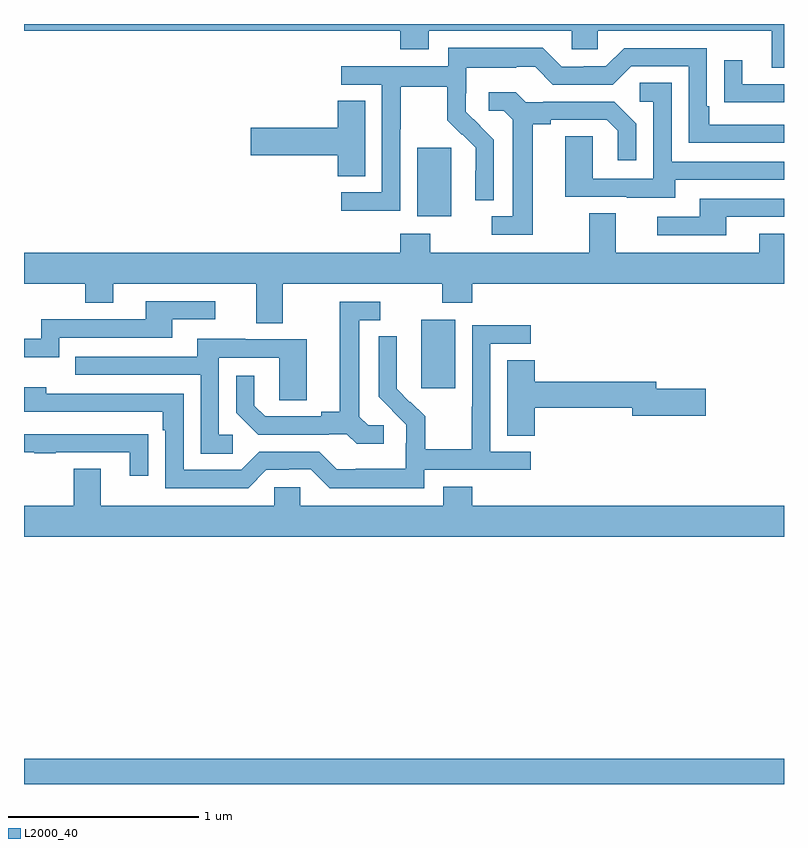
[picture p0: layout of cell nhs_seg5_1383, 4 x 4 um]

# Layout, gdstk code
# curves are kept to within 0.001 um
import gdstk
lib = gdstk.Library(unit=1e-6, precision=1e-09)
def R(c, l, rs):  # rectangles x0, y0, x1, y1
    for r in rs: c.add(gdstk.rectangle(r[:2], r[2:], *l))
def P(c, l, *ps):  # polygons
    for p in ps: c.add(gdstk.Polygon(p, *l))
L2000_40 = (2000, 40)

nhs_seg5_1383 = lib.new_cell('nhs_seg5_1383')
R(nhs_seg5_1383, L2000_40, [(195,848.799,199,848.932), (197.09,850.881,197.269,851.242), (197.069,851.786,197.248,852.147)])
P(nhs_seg5_1383, L2000_40, [(199,852.799),(195,852.799),(195,852.764),(196.979,852.764),(196.979,852.665),(197.131,852.665),(197.131,852.764),(197.883,852.764),(197.883,852.666),(198.021,852.666),(198.021,852.764),(198.935,852.764),(198.935,852.57),(199,852.57)],
  [(196.98,852.244),(196.983,852.244),(196.983,852.468),(197.227,852.468),(197.227,852.293),(197.304,852.216),(197.307,852.219),(197.378,852.149),(197.378,852.026),(197.376,852.026),(197.376,851.872),(197.472,851.872),(197.472,852.19),(197.326,852.338),(197.326,852.435),(197.328,852.435),(197.328,852.569),(197.591,852.569),(197.591,852.573),(197.691,852.573),(197.784,852.48),(198.099,852.48),(198.195,852.576),(198.498,852.576),(198.498,852.174),(199,852.174),(199,852.27),(198.607,852.27),(198.607,852.367),(198.594,852.367),(198.594,852.672),(198.159,852.672),(198.063,852.576),(197.945,852.576),(197.945,852.573),(197.829,852.573),(197.729,852.673),(197.232,852.673),(197.232,852.576),(196.671,852.576),(196.671,852.48),(196.884,852.48),(196.884,851.913),(196.671,851.913),(196.671,851.815),(196.98,851.815)],
  [(199,852.483),(198.781,852.483),(198.781,852.607),(198.685,852.607),(198.685,852.388),(198.787,852.388),(198.787,852.387),(199,852.387)],
  [(198.427,851.979),(199,851.979),(199,852.075),(198.408,852.075),(198.408,852.491),(198.24,852.491),(198.24,852.39),(198.312,852.39),(198.312,851.985),(197.994,851.985),(197.994,852.209),(197.849,852.209),(197.849,851.889),(198.173,851.889),(198.173,851.885),(198.427,851.885)],
  [(197.677,852.272),(197.773,852.272),(197.773,852.294),(198.068,852.294),(198.125,852.237),(198.125,852.081),(198.222,852.081),(198.222,852.274),(198.106,852.39),(197.734,852.39),(197.734,852.387),(197.64,852.387),(197.588,852.439),(197.445,852.439),(197.445,852.342),(197.526,852.342),(197.573,852.295),(197.573,851.787),(197.463,851.787),(197.463,851.691),(197.677,851.691)],
  [(196.795,852.395),(196.652,852.395),(196.652,852.254),(196.194,852.254),(196.194,852.107),(196.652,852.107),(196.652,851.998),(196.795,851.998)],
  [(198.697,851.784),(199,851.784),(199,851.88),(198.557,851.88),(198.557,851.784),(198.333,851.784),(198.333,851.688),(198.697,851.688)],
  [(196.363,851.432),(197.2,851.432),(197.2,851.333),(197.36,851.333),(197.36,851.432),(199,851.432),(199,851.695),(198.869,851.695),(198.869,851.596),(198.115,851.596),(198.115,851.804),(197.975,851.804),(197.975,851.596),(197.139,851.596),(197.139,851.695),(196.979,851.695),(196.979,851.596),(195,851.596),(195,851.432),(195.322,851.432),(195.322,851.333),(195.469,851.333),(195.469,851.432),(196.223,851.432),(196.223,851.224),(196.363,851.224)],
  [(195.186,851.148),(195.781,851.148),(195.781,851.244),(196.006,851.244),(196.006,851.34),(195.641,851.34),(195.641,851.244),(195.09,851.244),(195.09,851.142),(195,851.142),(195,851.045),(195.186,851.045)],
  [(196.894,850.686),(196.812,850.686),(196.765,850.733),(196.765,851.241),(196.876,851.241),(196.876,851.337),(196.661,851.337),(196.661,850.757),(196.565,850.757),(196.565,850.734),(196.27,850.734),(196.213,850.791),(196.213,850.948),(196.116,850.948),(196.116,850.754),(196.232,850.638),(196.604,850.638),(196.604,850.641),(196.698,850.641),(196.75,850.589),(196.894,850.589)],
  [(197.106,850.452),(197.668,850.452),(197.668,850.548),(197.454,850.548),(197.454,851.115),(197.668,851.115),(197.668,851.214),(197.358,851.214),(197.358,850.784),(197.356,850.784),(197.356,850.561),(197.111,850.561),(197.111,850.735),(197.034,850.812),(197.031,850.809),(196.961,850.88),(196.962,851.156),(196.866,851.156),(196.866,850.838),(197.012,850.69),(197.012,850.593),(197.01,850.593),(197.01,850.459),(196.747,850.459),(196.747,850.455),(196.647,850.455),(196.554,850.548),(196.239,850.548),(196.143,850.452),(195.84,850.452),(195.84,850.854),(195.116,850.854),(195.116,850.888),(195,850.888),(195,850.758),(195.731,850.758),(195.731,850.661),(195.744,850.661),(195.744,850.356),(196.179,850.356),(196.275,850.452),(196.394,850.452),(196.394,850.455),(196.509,850.455),(196.609,850.355),(197.106,850.355)],
  [(196.099,850.638),(196.026,850.638),(196.026,851.043),(196.344,851.043),(196.344,850.819),(196.489,850.819),(196.489,851.139),(196.165,851.139),(196.165,851.143),(195.911,851.143),(195.911,851.049),(195.271,851.049),(195.271,850.953),(195.93,850.953),(195.93,850.537),(196.099,850.537)],
  [(197.687,850.78),(198.2,850.78),(198.2,850.738),(198.589,850.738),(198.589,850.88),(198.328,850.88),(198.328,850.916),(197.687,850.916),(197.687,851.03),(197.543,851.03),(197.543,850.633),(197.687,850.633)],
  [(195.653,850.64),(195.551,850.64),(195.551,850.641),(195,850.641),(195,850.545),(195.055,850.545),(195.055,850.54),(195.167,850.54),(195.167,850.545),(195.557,850.545),(195.557,850.422),(195.653,850.422)],
  [(199,850.264),(197.36,850.264),(197.36,850.363),(197.207,850.363),(197.207,850.264),(196.455,850.264),(196.455,850.362),(196.317,850.362),(196.317,850.264),(195.403,850.264),(195.403,850.459),(195.263,850.459),(195.263,850.264),(195,850.264),(195,850.1),(199,850.1)])

lib.write_gds('nhs_seg5_1383.gds')
